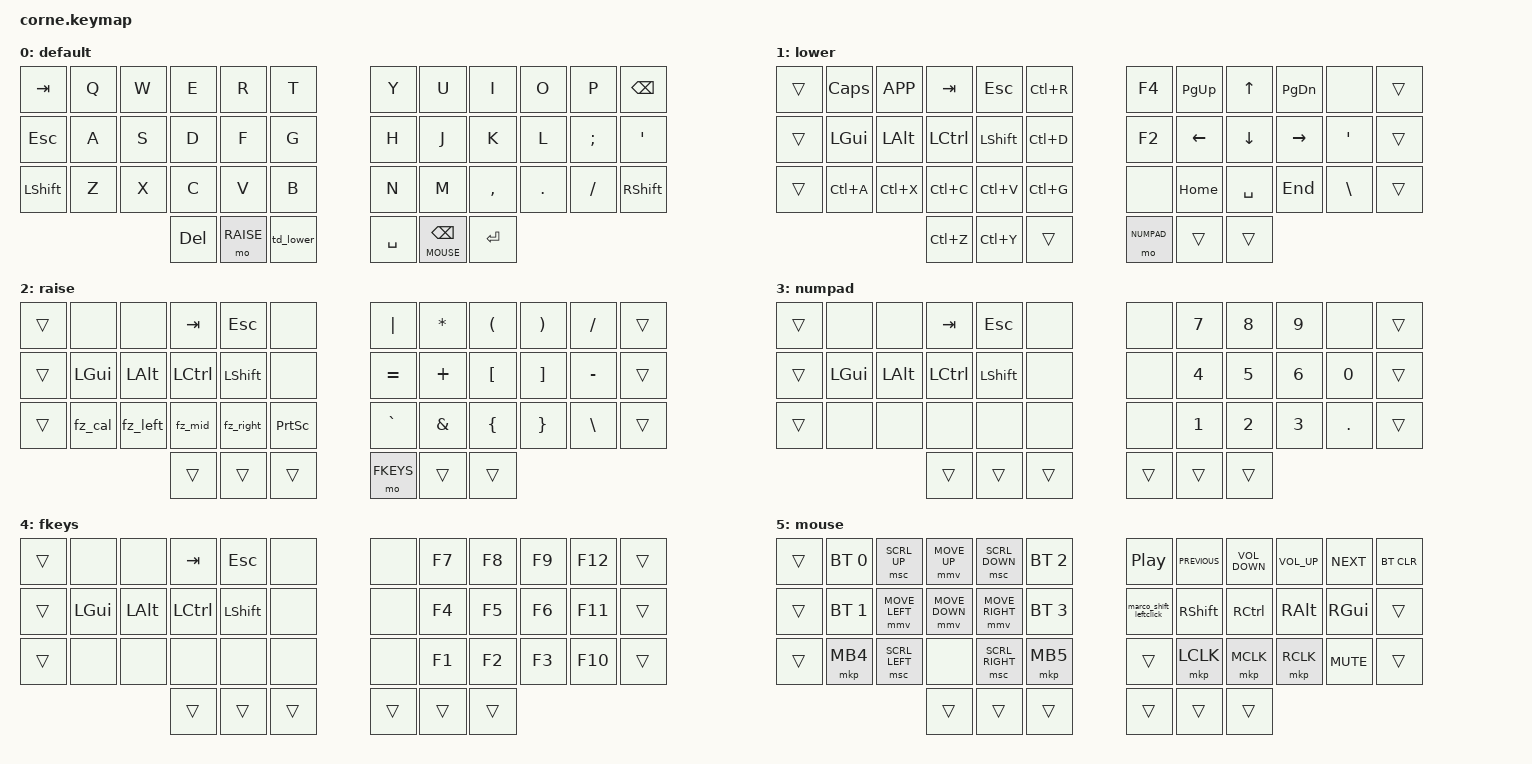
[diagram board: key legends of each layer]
/*
 * Copyright (c) 2020 The ZMK Contributors
 *
 * SPDX-License-Identifier: MIT
 */

#include <dt-bindings/zmk/mouse.h>

/* Cấu hình tốc độ mouse (phải đặt trước include pointing.h) */
/* MOVE_VAL giảm từ 1000 → 700 để mỗi bước nhỏ hơn, di chuyển mượt hơn */
/* Kết hợp với LATENCY=0 trong config và tăng pointer speed Windows để bù tốc độ */

#define ZMK_POINTING_DEFAULT_MOVE_VAL 700
#define ZMK_POINTING_DEFAULT_SCRL_VAL 20

#include <behaviors.dtsi>
#include <dt-bindings/zmk/bt.h>
#include <dt-bindings/zmk/keys.h>
#include <dt-bindings/zmk/pointing.h>

#define BASE   0
#define LOWER  1
#define RAISE  2
#define NUMPAD 3
#define FKEYS  4
#define MOUSE  5

/ {
    behaviors {
        /* ─── Home Row Mod cho TAY TRÁI ─── */

        hml: home_row_mod_left {
            compatible = "zmk,behavior-hold-tap";
            #binding-cells = <2>;
            flavor = "balanced";
            tapping-term-ms = <280>;
            quick-tap-ms = <175>;
            require-prior-idle-ms = <150>;
            bindings = <&kp>, <&kp>;

            hold-trigger-key-positions = <
                6  7  8  9  10 11
                18 19 20 21 22 23
                30 31 32 33 34 35
                39 40 41
            >;

            hold-trigger-on-release;
        };

        /* ─── Home Row Mod cho TAY PHẢI ─── */

        hmr: home_row_mod_right {
            compatible = "zmk,behavior-hold-tap";
            #binding-cells = <2>;
            flavor = "balanced";
            tapping-term-ms = <280>;
            quick-tap-ms = <175>;
            require-prior-idle-ms = <150>;
            bindings = <&kp>, <&kp>;

            hold-trigger-key-positions = <
                0  1  2  3  4  5
                12 13 14 15 16 17
                24 25 26 27 28 29
                36 37 38
            >;

            hold-trigger-on-release;
        };

        /* ─── Tap-dance cho LOWER layer ─── */
        /* Tap/Hold = mo LOWER (giữ để dùng), Double-tap = tog LOWER (rảnh tay) */

        td_lower: tap_dance_lower {
            compatible = "zmk,behavior-tap-dance";
            #binding-cells = <0>;
            tapping-term-ms = <300>;
            bindings = <&mo LOWER>, <&tog LOWER>;
        };
    };

    macros {
        fz_left: fz_left {
            label = "FZ_LEFT";
            compatible = "zmk,behavior-macro";
            #binding-cells = <0>;
            bindings =
                <&macro_press>,
                <&kp LGUI>,
                <&macro_press>,
                <&kp LCTRL>,
                <&macro_press>,
                <&kp LALT>,
                <&macro_tap>,
                <&kp N1>,
                <&macro_release>,
                <&kp LALT>,
                <&macro_release>,
                <&kp LCTRL>,
                <&macro_release>,
                <&kp LGUI>;
        };

        fz_mid: fz_mid {
            label = "FZ_MID";
            compatible = "zmk,behavior-macro";
            #binding-cells = <0>;
            bindings =
                <&macro_press>,
                <&kp LGUI>,
                <&macro_press>,
                <&kp LCTRL>,
                <&macro_press>,
                <&kp LALT>,
                <&macro_tap>,
                <&kp N2>,
                <&macro_release>,
                <&kp LALT>,
                <&macro_release>,
                <&kp LCTRL>,
                <&macro_release>,
                <&kp LGUI>;
        };

        fz_right: fz_right {
            label = "FZ_RIGHT";
            compatible = "zmk,behavior-macro";
            #binding-cells = <0>;
            bindings =
                <&macro_press>,
                <&kp LGUI>,
                <&macro_press>,
                <&kp LCTRL>,
                <&macro_press>,
                <&kp LALT>,
                <&macro_tap>,
                <&kp N3>,
                <&macro_release>,
                <&kp LALT>,
                <&macro_release>,
                <&kp LCTRL>,
                <&macro_release>,
                <&kp LGUI>;
        };

        fz_cal: fz_cal {
            label = "FZ_CAL";
            compatible = "zmk,behavior-macro";
            #binding-cells = <0>;
            bindings =
                <&macro_press>,
                <&kp LGUI>,
                <&macro_tap>,
                <&kp R>,
                <&macro_release>,
                <&kp LGUI>,
                <&macro_pause_for_release>,
                <&macro_tap>,
                <&kp C>,
                <&macro_tap>,
                <&kp A>,
                <&macro_tap>,
                <&kp L>,
                <&macro_tap>,
                <&kp C>,
                <&macro_tap>,
                <&kp ENTER>;
        };

        marco_shift_leftclick: marco_shift_leftclick {
            compatible = "zmk,behavior-macro";
            #binding-cells = <0>;
            bindings =
                <&macro_press>,
                <&kp LEFT_SHIFT &mkp LCLK>,
                <&macro_pause_for_release>,
                <&macro_release>,
                <&mkp LCLK &kp LEFT_SHIFT>;

            label = "MARCO_SHIFT_LEFTCLICK";
        };
    };

    combos {
        compatible = "zmk,combos";

        /* ═══ TOGGLE MOUSE LAYER ─ Bấm đồng thời 2 phím thumb phải ═══ */
        /* Tránh ảnh hưởng delay BSPC khi dùng tap-dance */

        C_TogMouse {
            bindings = <&tog MOUSE>;
            key-positions = <40 41>;
            layers = <0 5>;
            timeout-ms = <30>;
            require-prior-idle-ms = <300>;
        };

        /* ═══ SINGLE MODIFIER ─ Tay trái (thumb 38 + home row) ═══ */

        C_Leftwin {
            bindings = <&kp LGUI>;
            key-positions = <38 13>;
            layers = <0>;
        };

        C_LeftAlt {
            bindings = <&kp LALT>;
            key-positions = <38 14>;
            layers = <0>;
        };

        C_LeftCtrl {
            bindings = <&kp LCTRL>;
            key-positions = <38 15>;
            layers = <0>;
        };

        C_Leftshift {
            bindings = <&kp LSHFT>;
            key-positions = <38 16>;
            layers = <0>;
        };

        /* ═══ SINGLE MODIFIER ─ Tay phải (thumb 39 + home row) ═══ */

        C_RightWin {
            bindings = <&kp RGUI>;
            key-positions = <39 22>;
            layers = <0>;
        };

        C_RightAlt {
            bindings = <&kp LALT>;
            key-positions = <39 21>;
            layers = <0>;
        };

        C_RightCtrl {
            bindings = <&kp RCTRL>;
            key-positions = <39 20>;
            layers = <0>;
        };

        C_RightShift {
            bindings = <&kp RSHFT>;
            key-positions = <39 19>;
            layers = <0>;
        };

        /* ═══ DUAL MODIFIER ─ Tay trái ═══ */

        C_L_CtrlShift {
            bindings = <&kp LC(LSHFT)>;
            key-positions = <38 15 16>;
            layers = <0>;
        };

        C_L_AltCtrl {
            bindings = <&kp LA(LCTRL)>;
            key-positions = <38 14 15>;
            layers = <0>;
        };

        C_L_GuiShift {
            bindings = <&kp LG(LSHFT)>;
            key-positions = <38 13 16>;
            layers = <0>;
        };

        C_L_GuiCtrl {
            bindings = <&kp LG(LCTRL)>;
            key-positions = <38 13 15>;
            layers = <0>;
        };

        C_L_AltShift {
            bindings = <&kp LA(LSHFT)>;
            key-positions = <38 14 16>;
            layers = <0>;
        };

        C_L_GuiAlt {
            bindings = <&kp LG(LALT)>;
            key-positions = <38 13 14>;
            layers = <0>;
        };

        /* ═══ DUAL MODIFIER ─ Tay phải ═══ */

        C_R_CtrlShift {
            bindings = <&kp RC(RSHFT)>;
            key-positions = <39 20 19>;
            layers = <0>;
        };

        C_R_AltCtrl {
            bindings = <&kp LA(RCTRL)>;
            key-positions = <39 21 20>;
            layers = <0>;
        };

        C_R_GuiShift {
            bindings = <&kp RG(RSHFT)>;
            key-positions = <39 22 19>;
            layers = <0>;
        };

        C_R_GuiCtrl {
            bindings = <&kp RG(RCTRL)>;
            key-positions = <39 22 20>;
            layers = <0>;
        };

        C_R_AltShift {
            bindings = <&kp LA(RSHFT)>;
            key-positions = <39 21 19>;
            layers = <0>;
        };

        C_R_GuiAlt {
            bindings = <&kp RG(LALT)>;
            key-positions = <39 22 21>;
            layers = <0>;
        };

        /* ═══ TRIPLE MODIFIER ─ Tay trái ═══ */

        C_L_CtrlAltShift {
            bindings = <&kp LC(LA(LSHFT))>;
            key-positions = <38 14 15 16>;
            layers = <0>;
        };

        C_L_GuiCtrlShift {
            bindings = <&kp LG(LC(LSHFT))>;
            key-positions = <38 13 15 16>;
            layers = <0>;
        };

        C_L_GuiAltShift {
            bindings = <&kp LG(LA(LSHFT))>;
            key-positions = <38 13 14 16>;
            layers = <0>;
        };

        C_L_GuiCtrlAlt {
            bindings = <&kp LG(LC(LALT))>;
            key-positions = <38 13 14 15>;
            layers = <0>;
        };

        /* ═══ TRIPLE MODIFIER ─ Tay phải ═══ */

        C_R_CtrlAltShift {
            bindings = <&kp RC(LA(RSHFT))>;
            key-positions = <39 21 20 19>;
            layers = <0>;
        };

        C_R_GuiCtrlShift {
            bindings = <&kp RG(RC(RSHFT))>;
            key-positions = <39 22 20 19>;
            layers = <0>;
        };

        C_R_GuiAltShift {
            bindings = <&kp RG(LA(RSHFT))>;
            key-positions = <39 22 21 19>;
            layers = <0>;
        };

        C_R_GuiCtrlAlt {
            bindings = <&kp RG(RC(LALT))>;
            key-positions = <39 22 21 20>;
            layers = <0>;
        };

        C_BtClr {
            bindings = <&bt BT_CLR>;
            key-positions = <36 37 38>;
            layers = <0>;
            timeout-ms = <30>;
            require-prior-idle-ms = <300>;
        };
    };

    keymap {
        compatible = "zmk,keymap";

        default_layer {
            label = "default";
            bindings = <
&kp TAB    &kp Q  &kp W  &kp E       &kp R      &kp T        &kp Y      &kp U           &kp I      &kp O    &kp P     &kp BSPC
&kp ESC    &kp A  &kp S  &kp D       &kp F      &kp G        &kp H      &kp J           &kp K      &kp L    &kp SEMI  &kp SQT
&kp LSHFT  &kp Z  &kp X  &kp C       &kp V      &kp B        &kp N      &kp M           &kp COMMA  &kp DOT  &kp FSLH  &kp RSHFT
                         &kp DELETE  &mo RAISE  &td_lower    &kp SPACE  &lt MOUSE BSPC  &kp ENTER
            >;
        };

        arrow_layer {
            label = "lower";
            bindings = <
&trans  &kp CAPSLOCK  &kp K_APP  &kp TAB    &kp ESCAPE  &kp LC(R)    &kp F4      &kp PG_UP  &kp UP     &kp PG_DN  &none          &trans
&trans  &kp LGUI      &kp LALT   &kp LCTRL  &kp LSHFT   &kp LC(D)    &kp F2      &kp LEFT   &kp DOWN   &kp RIGHT  &kp SQT        &trans
&trans  &kp LC(A)     &kp LC(X)  &kp LC(C)  &kp LC(V)   &kp LC(G)    &none       &kp HOME   &kp SPACE  &kp END    &kp BACKSLASH  &trans
                                 &kp LC(Z)  &kp LC(Y)   &trans       &mo NUMPAD  &trans     &trans
            >;
        };

        symbols_layer {
            label = "raise";
            bindings = <
&trans  &none     &none     &kp TAB    &kp ESC    &none        &kp PIPE   &kp ASTRK  &kp LPAR  &kp RPAR  &kp FSLH   &trans
&trans  &kp LGUI  &kp LALT  &kp LCTRL  &kp LSHFT  &none        &kp EQUAL  &kp PLUS   &kp LBKT  &kp RBKT  &kp MINUS  &trans
&trans  &fz_cal   &fz_left  &fz_mid    &fz_right  &kp PSCRN    &kp GRAVE  &kp AMPS   &kp LBRC  &kp RBRC  &kp BSLH   &trans
                            &trans     &trans     &trans       &mo FKEYS  &trans     &trans
            >;
        };

        numpad_layer {
            label = "numpad";
            bindings = <
&trans  &none     &none     &kp TAB    &kp ESCAPE  &none     &none   &kp N7  &kp N8  &kp N9  &none         &trans
&trans  &kp LGUI  &kp LALT  &kp LCTRL  &kp LSHFT   &none     &none   &kp N4  &kp N5  &kp N6  &kp NUMBER_0  &trans
&trans  &none     &none     &none      &none       &none     &none   &kp N1  &kp N2  &kp N3  &kp DOT       &trans
                            &trans     &trans      &trans    &trans  &trans  &trans
            >;
        };

        f_layer {
            label = "fkeys";
            bindings = <
&trans  &none     &none     &kp TAB    &kp ESCAPE  &none     &none   &kp F7  &kp F8  &kp F9  &kp F12  &trans
&trans  &kp LGUI  &kp LALT  &kp LCTRL  &kp LSHFT   &none     &none   &kp F4  &kp F5  &kp F6  &kp F11  &trans
&trans  &none     &none     &none      &none       &none     &none   &kp F1  &kp F2  &kp F3  &kp F10  &trans
                            &trans     &trans      &trans    &trans  &trans  &trans
            >;
        };

        mouse_layer {
            label = "mouse";
            bindings = <
&trans  &bt BT_SEL 0  &msc SCRL_UP    &mmv MOVE_UP    &msc SCRL_DOWN   &bt BT_SEL 2    &kp C_PLAY_PAUSE        &kp C_PREVIOUS  &kp C_VOLUME_DOWN  &kp C_VOLUME_UP  &kp C_NEXT  &bt BT_CLR
&trans  &bt BT_SEL 1  &mmv MOVE_LEFT  &mmv MOVE_DOWN  &mmv MOVE_RIGHT  &bt BT_SEL 3    &marco_shift_leftclick  &kp RSHFT       &kp RCTRL          &kp RALT         &kp RGUI    &trans
&trans  &mkp MB4      &msc SCRL_LEFT  &none           &msc SCRL_RIGHT  &mkp MB5        &trans                  &mkp LCLK       &mkp MCLK          &mkp RCLK        &kp C_MUTE  &trans
                                      &trans          &trans           &trans          &trans                  &trans          &trans
            >;
        };
    };
};
